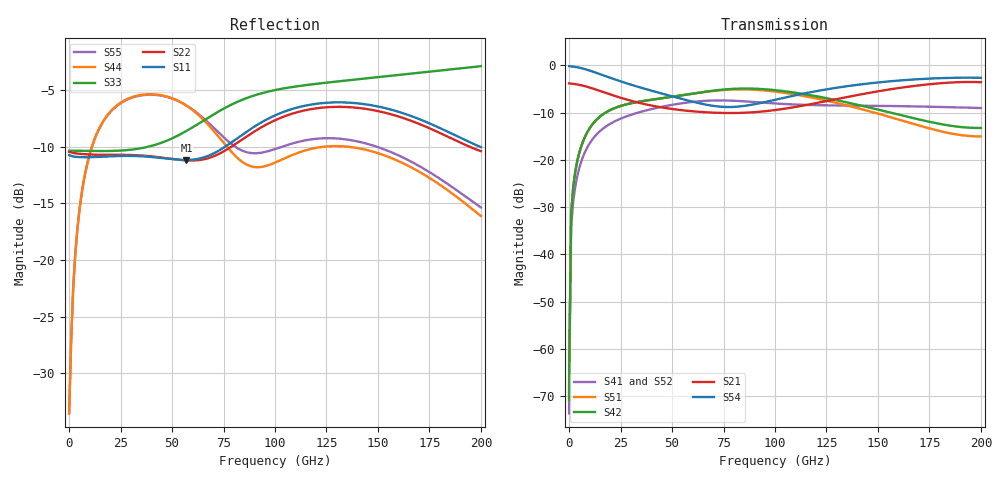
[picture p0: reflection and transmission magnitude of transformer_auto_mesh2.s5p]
! Created with skrf 2.1.0 (http://scikit-rf.org).
# GHz S DB R 50.0
! Port[1] = P1
! Port[2] = P2
! Port[3] = P3
! Port[4] = P4
! Port[5] = P5
!freq dBS11 angS11 dBS12 angS12 dBS13 angS13
! dBS14 angS14 dBS15 angS15
! dBS21 angS21 dBS22 angS22 dBS23 angS23
! dBS24 angS24 dBS25 angS25
! dBS31 angS31 dBS32 angS32 dBS33 angS33
! dBS34 angS34 dBS35 angS35
! dBS41 angS41 dBS42 angS42 dBS43 angS43
! dBS44 angS44 dBS45 angS45
! dBS51 angS51 dBS52 angS52 dBS53 angS53
! dBS54 angS54 dBS55 angS55
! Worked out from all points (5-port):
!   202 points, 10 MHz to 200 GHz, reference 50 ohm
!   strongest paths, dB at 10 MHz, 49 GHz, 100 GHz, 150 GHz, 200 GHz:
!     S54: -0.2, -6.4, -7.3, -3.6, -2.7
!     S21: -3.8, -9.2, -9.5, -5.5, -3.6
!     S42: -70.9, -6.7, -5.3, -9.4, -13.3
!     S51: -70.9, -6.7, -5.6, -10.2, -15.0
!     S41: -73.6, -8.4, -8.1, -8.6, -9.1
!     S52: -73.7, -8.5, -8.1, -8.7, -9.3
!   lowest |S11| = -11.2 dB at 57 GHz (marker M1), VSWR 1.76, Z = 72.2 + j26.4 ohm
!   |S11| at or under -10 dB: start of sweep to 75.83 GHz; 199.4174 GHz to end of sweep
